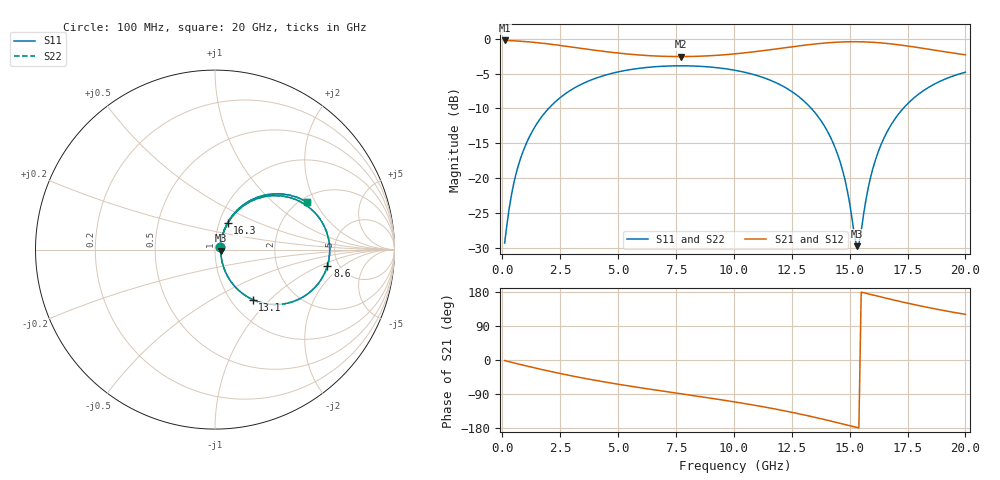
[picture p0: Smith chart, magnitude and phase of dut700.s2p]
! Touchstone file exported from HFSS 2026.1.0
!  File:  C:/ffzhzh/LocalFiles/Ansys_Project_Files/temp_train_TSV_RDL_700_1783198994_55132.aedt
!  Generated:  05:11:51 AM Jul  5, 2026
!  Design:  TSV_RDL
!  Project:  temp_train_TSV_RDL_700_1783198994_55132
! Variables:
!  h_bsmrdl = 2.92um
!  h_ox = 20um
!  h_rdl = 5um
!  h_sub = 88.35um
!  h_tmrdl = 2.76um
!  h_tsv = 88.35um
!  h_via = 3um
!  l_bsmrdl = 884.47um
!  l_sub = 3600.67um
!  l_tmrdl = 117.09um
!  m_sub = 200um
!  pitch = 57.96um
!  r_tsv = 14.08um
!  s_tmrdl = 10um
!  w_bsmrdl = 13.14um
!  w_sub = 500um
!  w_tmrdl = 13.16um
!  x_tsv_center1 = 123.67um
!  x_tsv_center2 = 1021.28um
!  x_tsv_center3 = 1151.53um
!  x_tsv_center4 = 2049.14um
!  x_tsv_center5 = 2179.39um
!  x_tsv_center6 = 3077um
# GHz S MA R 50.000000
! Terminal data exported
! Port[1] = TM_RDL1_1_T1
! Port[2] = TM_RDL5_1_T1
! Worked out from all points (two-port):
!   200 points, 100 MHz to 20 GHz, reference 50 ohm
!   highest |S21| = -0.26 dB at 100 MHz (marker M1); lowest = -2.6 dB at 7.7 GHz (marker M2)
!   |S21| within 3 dB of the highest: start of sweep to end of sweep
!   lowest |S11| = -29.7 dB at 15.3 GHz (marker M3), VSWR 1.07, Z = 53.3 - j0.708 ohm
!   |S11| at or under -10 dB: start of sweep to 2 GHz; 13.35 GHz to 17.31 GHz (3.963 GHz wide, 25.9 % of centre)
!   |S22| runs from -29.7 to -3.9 dB; largest |S21 - S12| = 1.6e-14
!   S11 on the Smith chart (normalised r, x): 100 MHz: 1.06, +0.04; 8.6 GHz: 4.06, -1.22; 13.1 GHz: 1.25, -0.79; 16.3 GHz: 1.10, +0.34; 20 GHz: 2.16, +1.71
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0.1  0.03438 29.9  0.9705 -1.6  0.9705 -1.6  0.03438 29.9
! Gamma 0 0 0 0
! Port Impedance 50 0 50 0
0.5  0.09277 62.6  0.9649 -7.7  0.9649 -7.7  0.09277 62.6
1.2  0.2026 62.7  0.9464 -18.0  0.9464 -18.0  0.2026 62.7
2.2  0.3419 52.8  0.9073 -31.8  0.9073 -31.8  0.3419 52.8
3.5  0.4788 38.5  0.8475 -47.9  0.8475 -47.9  0.4788 38.5
6.8  0.6327 7.3  0.749 -80.9  0.749 -80.9  0.6327 7.3
7.7  0.6393 -0.4  0.7441 -89.0  0.7441 -89.0  0.6393 -0.4
8.6  0.6329 -8.2  0.7493 -97.1  0.7493 -97.1  0.6329 -8.2
10.1  0.5915 -21.7  0.7798 -111.3  0.7798 -111.3  0.5915 -21.7
11.7  0.4937 -37.6  0.8384 -128.3  0.8384 -128.3  0.4937 -37.6
13.1  0.3486 -53.0  0.8996 -145.8  0.8996 -145.8  0.3486 -53.0
13.4  0.3095 -56.3  0.9116 -149.9  0.9116 -149.9  0.3095 -56.3
14.1  0.2082 -63.1  0.935 -159.8  0.935 -159.8  0.2082 -63.1
14.6  0.1295 -64.9  0.9459 -167.2  0.9459 -167.2  0.1295 -64.9
14.9  0.08173 -60.5  0.9495 -171.7  0.9495 -171.7  0.08172 -60.6
15.3  0.03267 -11.7  0.9505 -177.8  0.9505 -177.8  0.03263 -11.7
15.4  0.03352 16.8  0.9501 -179.3  0.9501 -179.3  0.03349 16.9
15.9  0.1007 63.2  0.9437 173.1  0.9437 173.1  0.1007 63.2
16.3  0.1651 64.7  0.934 167.1  0.934 167.1  0.1651 64.7
16.7  0.2276 62.1  0.9206 161.2  0.9206 161.2  0.2276 62.1
18  0.403 48.4  0.8612 143.4  0.8612 143.4  0.403 48.4
20  0.575 27.5  0.7662 120.4  0.7662 120.4  0.575 27.5
